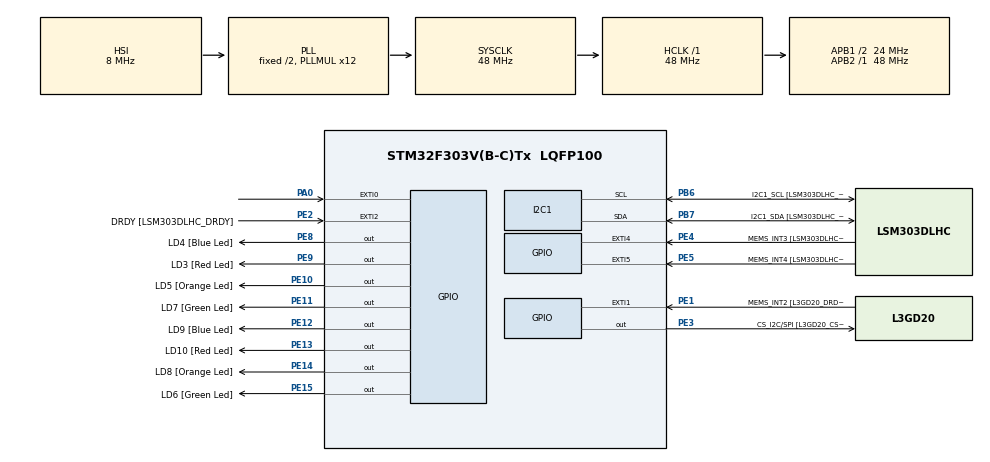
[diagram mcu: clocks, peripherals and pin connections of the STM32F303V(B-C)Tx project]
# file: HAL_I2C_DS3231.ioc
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Mcu.Family=STM32F3
Mcu.Name=STM32F303V(B-C)Tx
Mcu.Package=LQFP100
NVIC.EXTI0_IRQn=true\:0\:0\:false\:false\:true\:true\:true\:true
NVIC.PriorityGroup=NVIC_PRIORITYGROUP_0
PA0.Signal=GPXTI0
PA11.GPIO_Label=DM
PA11.Signal=USB_DM
PA12.GPIO_Label=DP
PA12.Signal=USB_DP
PA13.GPIO_Label=SWDIO
PA13.Signal=SYS_JTMS-SWDIO
PA14.GPIO_Label=SWCLK
PA14.Signal=SYS_JTCK-SWCLK
PA5.GPIO_Label=SPI1_SCK [L3GD20_SCL/SPC]
PA5.GPIO_Mode=GPIO_MODE_AF_PP
PA5.GPIO_PuPd=GPIO_NOPULL
PA5.GPIO_Speed=GPIO_SPEED_FREQ_LOW
PA5.Signal=SPI1_SCK
PA6.GPIO_Label=SPI1_MISO [L3GD20_SA0/SDO]
PA6.GPIO_Mode=GPIO_MODE_AF_PP
PA6.GPIO_PuPd=GPIO_NOPULL
PA6.GPIO_Speed=GPIO_SPEED_FREQ_LOW
PA6.Signal=SPI1_MISO
PA7.GPIO_Label=SPI1_MISO [L3GD20_SDA/SDI/SDO]
PA7.GPIO_Mode=GPIO_MODE_AF_PP
PA7.GPIO_PuPd=GPIO_NOPULL
PA7.GPIO_Speed=GPIO_SPEED_FREQ_LOW
PA7.Signal=SPI1_MOSI
PB3.GPIO_Label=SWO
PB3.Signal=SYS_JTDO-TRACESWO
PB6.GPIO_FM6=__NULL
PB6.GPIO_Label=I2C1_SCL [LSM303DLHC_SCL]
PB6.GPIO_Mode=GPIO_MODE_AF_OD
PB6.GPIO_Pu=GPIO_NOPULL
PB6.GPIO_PuPd=GPIO_NOPULL
PB6.GPIO_Speed=GPIO_SPEED_FREQ_LOW
PB6.Mode=I2C
PB6.Signal=I2C1_SCL
PB7.GPIO_FM7=__NULL
PB7.GPIO_Label=I2C1_SDA [LSM303DLHC_SDA]
PB7.GPIO_Mode=GPIO_MODE_AF_OD
PB7.GPIO_Pu=GPIO_NOPULL
PB7.GPIO_PuPd=GPIO_NOPULL
PB7.GPIO_Speed=GPIO_SPEED_FREQ_LOW
PB7.Mode=I2C
PB7.Signal=I2C1_SDA
PC14-OSC32_IN.GPIO_Label=OSC32_IN
PC14-OSC32_IN.Signal=RCC_OSC32_IN
PC15-OSC32_OUT.GPIO_Label=OSC32_OUT
PC15-OSC32_OUT.Signal=RCC_OSC32_OUT
PE1.GPIO_Label=MEMS_INT2 [L3GD20_DRDY/INT2]
PE1.GPIO_ModeDefaultEXTI=GPIO_MODE_EVT_RISING
PE1.GPIO_PuPd=GPIO_NOPULL
PE1.Signal=GPXTI1
PE10.GPIO_Label=LD5 [Orange Led]
PE10.GPIO_ModeDefaultOutputPP=GPIO_MODE_OUTPUT_PP
PE10.GPIO_PuPd=GPIO_NOPULL
PE10.GPIO_Speed=GPIO_SPEED_FREQ_LOW
PE10.Signal=GPIO_Output
PE11.GPIO_Label=LD7 [Green Led]
PE11.GPIO_ModeDefaultOutputPP=GPIO_MODE_OUTPUT_PP
PE11.GPIO_PuPd=GPIO_NOPULL
PE11.GPIO_Speed=GPIO_SPEED_FREQ_LOW
PE11.Signal=GPIO_Output
PE12.GPIO_Label=LD9 [Blue Led]
PE12.GPIO_ModeDefaultOutputPP=GPIO_MODE_OUTPUT_PP
PE12.GPIO_PuPd=GPIO_NOPULL
PE12.GPIO_Speed=GPIO_SPEED_FREQ_LOW
PE12.Signal=GPIO_Output
PE13.GPIO_Label=LD10 [Red Led]
PE13.GPIO_ModeDefaultOutputPP=GPIO_MODE_OUTPUT_PP
PE13.GPIO_PuPd=GPIO_NOPULL
PE13.GPIO_Speed=GPIO_SPEED_FREQ_LOW
PE13.Signal=GPIO_Output
PE14.GPIO_Label=LD8 [Orange Led]
PE14.GPIO_ModeDefaultOutputPP=GPIO_MODE_OUTPUT_PP
PE14.GPIO_PuPd=GPIO_NOPULL
PE14.GPIO_Speed=GPIO_SPEED_FREQ_LOW
PE14.Signal=GPIO_Output
PE15.GPIO_Label=LD6 [Green Led]
PE15.GPIO_ModeDefaultOutputPP=GPIO_MODE_OUTPUT_PP
PE15.GPIO_PuPd=GPIO_NOPULL
PE15.GPIO_Speed=GPIO_SPEED_FREQ_LOW
PE15.Signal=GPIO_Output
PE2.GPIO_Label=DRDY [LSM303DLHC_DRDY]
PE2.GPIO_ModeDefaultEXTI=GPIO_MODE_EVT_RISING
PE2.GPIO_PuPd=GPIO_NOPULL
PE2.Signal=GPXTI2
PE3.GPIO_Label=CS_I2C/SPI [L3GD20_CS_I2C/SPI]
PE3.GPIO_ModeDefaultOutputPP=GPIO_MODE_OUTPUT_PP
PE3.GPIO_PuPd=GPIO_NOPULL
PE3.GPIO_Speed=GPIO_SPEED_FREQ_LOW
PE3.Signal=GPIO_Output
PE4.GPIO_Label=MEMS_INT3 [LSM303DLHC_INT1]
PE4.GPIO_ModeDefaultEXTI=GPIO_MODE_EVT_RISING
PE4.GPIO_PuPd=GPIO_NOPULL
PE4.Signal=GPXTI4
PE5.GPIO_Label=MEMS_INT4 [LSM303DLHC_INT2]
PE5.GPIO_ModeDefaultEXTI=GPIO_MODE_EVT_RISING
PE5.GPIO_PuPd=GPIO_NOPULL
PE5.Signal=GPXTI5
PE8.GPIO_Label=LD4 [Blue Led]
PE8.GPIO_ModeDefaultOutputPP=GPIO_MODE_OUTPUT_PP
PE8.GPIO_PuPd=GPIO_NOPULL
PE8.GPIO_Speed=GPIO_SPEED_FREQ_LOW
PE8.Signal=GPIO_Output
PE9.GPIO_Label=LD3 [Red Led]
PE9.GPIO_ModeDefaultOutputPP=GPIO_MODE_OUTPUT_PP
PE9.GPIO_PuPd=GPIO_NOPULL
PE9.GPIO_Speed=GPIO_SPEED_FREQ_LOW
PE9.Signal=GPIO_Output
PF0-OSC_IN.GPIO_Label=OSC_IN
PF0-OSC_IN.Signal=RCC_OSC_IN
PF1-OSC_OUT.GPIO_Label=OSC_OUT
PF1-OSC_OUT.Signal=RCC_OSC_OUT
ProjectManager.HeapSize=0x200
ProjectManager.StackSize=0x400
ProjectManager.TargetToolchain=STM32CubeIDE
RCC.AHBFreq_Value=48000000
RCC.APB1CLKDivider=RCC_HCLK_DIV2
RCC.APB1Freq_Value=24000000
RCC.APB1TimFreq_Value=48000000
RCC.APB2Freq_Value=48000000
RCC.APB2TimFreq_Value=48000000
RCC.CortexFreq_Value=48000000
RCC.HCLKFreq_Value=48000000
RCC.HSE_VALUE=8000000
RCC.HSI_VALUE=8000000
RCC.LSE_VALUE=32768
RCC.PLLMUL=RCC_PLL_MUL12
RCC.SYSCLKFreq_VALUE=48000000
RCC.SYSCLKSourceVirtual=RCC_SYSCLKSOURCE_PLLCLK
RCC.USBFreq_Value=48000000
board=STM32F3DISCOVERY

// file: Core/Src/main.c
/* USER CODE BEGIN Header */
/**
  ******************************************************************************
  * @file           : main.c
  * @brief          : Main program body
  ******************************************************************************
  * @attention
  *
  * Copyright (c) 2023 STMicroelectronics.
  * All rights reserved.
  *
  * This software is licensed under terms that can be found in the LICENSE file
  * in the root directory of this software component.
  * If no LICENSE file comes with this software, it is provided AS-IS.
  *
  ******************************************************************************
  */
/* USER CODE END Header */
#include "main.h"

/* USER CODE BEGIN Includes */
#include <stdio.h>
#include <DS3231.h>
/* USER CODE END Includes */

I2C_HandleTypeDef hi2c1;

void SystemClock_Config(void);
static void MX_GPIO_Init(void);
static void MX_I2C1_Init(void);
/* USER CODE BEGIN PFP */
//int I2C_init(I2C_HandleTypeDef* I2C);
/* USER CODE END PFP */

int main(void)
{

  /* MCU Configuration--------------------------------------------------------*/

  /* Reset of all peripherals, Initializes the Flash interface and the Systick. */
  HAL_Init();

  /* USER CODE BEGIN Init */

  //I2C_init(&hi2c1);
  /* USER CODE END Init */

  /* Configure the system clock */
  SystemClock_Config();

  /* Initialize all configured peripherals */
  MX_GPIO_Init();
  MX_I2C1_Init();
  /* USER CODE BEGIN 2 */

  /*
   * Fill the alarm DS3231_Alarm_t structure
   */
  DS3231_Alarm_t alarm_trigger;

  alarm_trigger.sec = 12;
  alarm_trigger.min = 1;
  alarm_trigger.trigger = ALARM_1_min_sec_match;

  /*
   * Call DS3231_set_alarm function with the given alarm structure
   */
  DS3231_set_alarm(&hi2c1, ALARM_1, alarm_trigger);

  /*
   * Fill the DS3231_Time_t stucture with time information
   */
  DS3231_Time_t timer_time = {13,36,35,0,0,0,0};

  printf("Program is working...\n");

  /* USER CODE END 2 */

  /* Infinite loop */
  /* USER CODE BEGIN WHILE */

  uint8_t alarm_status = 0;

  while (1)
  {
    /* USER CODE END WHILE */

    /* USER CODE BEGIN 3 */
	  DS3231_set_time(&hi2c1, timer_time);
	  timer_time = DS3231_get_time(&hi2c1);
	  alarm_status = DS3231_get_alarm(&hi2c1, ALARM_1);

	  if(alarm_status)
	  {
		  DS3231_clear_alarm(&hi2c1, ALARM_1);
		  printf("ALARM CLEARED\n\r");
	 }
	  alarm_status = DS3231_get_alarm(&hi2c1, ALARM_1);
	  HAL_Delay(1000);

	  if(CONNECTION_LOST){
		  printf("PROBLEM WITH I2C BUS CHECK THE CONNECTION...\n\n");
		  continue;
	  }

	  printf("%02d:%02d:%02d DAY: %d, DATE: %d, MONTH: %d, YEAR_100: %d\n ALARM STATUS: %d\n\n",\
			  timer_time.time_hr, timer_time.time_min, timer_time.time_sec,timer_time.day,\
			  timer_time.date, timer_time.month, timer_time.year_100, alarm_status);
  }

  /* USER CODE END 3 */
}

void SystemClock_Config(void)
{
  RCC_OscInitTypeDef RCC_OscInitStruct = {0};
  RCC_ClkInitTypeDef RCC_ClkInitStruct = {0};
  RCC_PeriphCLKInitTypeDef PeriphClkInit = {0};

  /** Initializes the RCC Oscillators according to the specified parameters
  * in the RCC_OscInitTypeDef structure.
  */
  RCC_OscInitStruct.OscillatorType = RCC_OSCILLATORTYPE_HSI;
  RCC_OscInitStruct.HSIState = RCC_HSI_ON;
  RCC_OscInitStruct.HSICalibrationValue = RCC_HSICALIBRATION_DEFAULT;
  RCC_OscInitStruct.PLL.PLLState = RCC_PLL_ON;
  RCC_OscInitStruct.PLL.PLLSource = RCC_PLLSOURCE_HSI;
  RCC_OscInitStruct.PLL.PLLMUL = RCC_PLL_MUL12;
  if (HAL_RCC_OscConfig(&RCC_OscInitStruct) != HAL_OK)
  {
    Error_Handler();
  }

  /** Initializes the CPU, AHB and APB buses clocks
  */
  RCC_ClkInitStruct.ClockType = RCC_CLOCKTYPE_HCLK|RCC_CLOCKTYPE_SYSCLK
                              |RCC_CLOCKTYPE_PCLK1|RCC_CLOCKTYPE_PCLK2;
  RCC_ClkInitStruct.SYSCLKSource = RCC_SYSCLKSOURCE_PLLCLK;
  RCC_ClkInitStruct.AHBCLKDivider = RCC_SYSCLK_DIV1;
  RCC_ClkInitStruct.APB1CLKDivider = RCC_HCLK_DIV2;
  RCC_ClkInitStruct.APB2CLKDivider = RCC_HCLK_DIV1;

  if (HAL_RCC_ClockConfig(&RCC_ClkInitStruct, FLASH_LATENCY_1) != HAL_OK)
  {
    Error_Handler();
  }
  PeriphClkInit.PeriphClockSelection = RCC_PERIPHCLK_I2C1;
  PeriphClkInit.I2c1ClockSelection = RCC_I2C1CLKSOURCE_HSI;
  if (HAL_RCCEx_PeriphCLKConfig(&PeriphClkInit) != HAL_OK)
  {
    Error_Handler();
  }
}

static void MX_I2C1_Init(void)
{

  hi2c1.Instance = I2C1;
  hi2c1.Init.Timing = 0x2000090E;
  hi2c1.Init.OwnAddress1 = 0;
  hi2c1.Init.AddressingMode = I2C_ADDRESSINGMODE_7BIT;
  hi2c1.Init.DualAddressMode = I2C_DUALADDRESS_DISABLE;
  hi2c1.Init.OwnAddress2 = 0;
  hi2c1.Init.OwnAddress2Masks = I2C_OA2_NOMASK;
  hi2c1.Init.GeneralCallMode = I2C_GENERALCALL_DISABLE;
  hi2c1.Init.NoStretchMode = I2C_NOSTRETCH_DISABLE;
  if (HAL_I2C_Init(&hi2c1) != HAL_OK)
  {
    Error_Handler();
  }

  /** Configure Analogue filter
  */
  if (HAL_I2CEx_ConfigAnalogFilter(&hi2c1, I2C_ANALOGFILTER_ENABLE) != HAL_OK)
  {
    Error_Handler();
  }

  /** Configure Digital filter
  */
  if (HAL_I2CEx_ConfigDigitalFilter(&hi2c1, 0) != HAL_OK)
  {
    Error_Handler();
  }

}

static void MX_GPIO_Init(void)
{
  GPIO_InitTypeDef GPIO_InitStruct = {0};

  /* GPIO Ports Clock Enable */
  __HAL_RCC_GPIOE_CLK_ENABLE();
  __HAL_RCC_GPIOC_CLK_ENABLE();
  __HAL_RCC_GPIOF_CLK_ENABLE();
  __HAL_RCC_GPIOA_CLK_ENABLE();
  __HAL_RCC_GPIOB_CLK_ENABLE();

  /*Configure GPIO pin Output Level */
  HAL_GPIO_WritePin(GPIOE, CS_I2C_SPI_Pin|LD4_Pin|LD3_Pin|LD5_Pin
                          |LD7_Pin|LD9_Pin|LD10_Pin|LD8_Pin
                          |LD6_Pin, GPIO_PIN_RESET);

  /*Configure GPIO pins : DRDY_Pin MEMS_INT3_Pin MEMS_INT4_Pin MEMS_INT2_Pin */
  GPIO_InitStruct.Pin = DRDY_Pin|MEMS_INT3_Pin|MEMS_INT4_Pin|MEMS_INT2_Pin;
  GPIO_InitStruct.Mode = GPIO_MODE_EVT_RISING;
  GPIO_InitStruct.Pull = GPIO_NOPULL;
  HAL_GPIO_Init(GPIOE, &GPIO_InitStruct);

  /*Configure GPIO pins : CS_I2C_SPI_Pin LD4_Pin LD3_Pin LD5_Pin
                           LD7_Pin LD9_Pin LD10_Pin LD8_Pin
                           LD6_Pin */
  GPIO_InitStruct.Pin = CS_I2C_SPI_Pin|LD4_Pin|LD3_Pin|LD5_Pin
                          |LD7_Pin|LD9_Pin|LD10_Pin|LD8_Pin
                          |LD6_Pin;
  GPIO_InitStruct.Mode = GPIO_MODE_OUTPUT_PP;
  GPIO_InitStruct.Pull = GPIO_NOPULL;
  GPIO_InitStruct.Speed = GPIO_SPEED_FREQ_LOW;
  HAL_GPIO_Init(GPIOE, &GPIO_InitStruct);

  /*Configure GPIO pin : PA0 */
  GPIO_InitStruct.Pin = GPIO_PIN_0;
  GPIO_InitStruct.Mode = GPIO_MODE_IT_RISING;
  GPIO_InitStruct.Pull = GPIO_NOPULL;
  HAL_GPIO_Init(GPIOA, &GPIO_InitStruct);

  /*Configure GPIO pins : SPI1_SCK_Pin SPI1_MISO_Pin SPI1_MISOA7_Pin */
  GPIO_InitStruct.Pin = SPI1_SCK_Pin|SPI1_MISO_Pin|SPI1_MISOA7_Pin;
  GPIO_InitStruct.Mode = GPIO_MODE_AF_PP;
  GPIO_InitStruct.Pull = GPIO_NOPULL;
  GPIO_InitStruct.Speed = GPIO_SPEED_FREQ_LOW;
  GPIO_InitStruct.Alternate = GPIO_AF5_SPI1;
  HAL_GPIO_Init(GPIOA, &GPIO_InitStruct);

  /*Configure GPIO pins : DM_Pin DP_Pin */
  GPIO_InitStruct.Pin = DM_Pin|DP_Pin;
  GPIO_InitStruct.Mode = GPIO_MODE_AF_PP;
  GPIO_InitStruct.Pull = GPIO_NOPULL;
  GPIO_InitStruct.Speed = GPIO_SPEED_FREQ_HIGH;
  GPIO_InitStruct.Alternate = GPIO_AF14_USB;
  HAL_GPIO_Init(GPIOA, &GPIO_InitStruct);

  /* EXTI interrupt init*/
  HAL_NVIC_SetPriority(EXTI0_IRQn, 0, 0);
  HAL_NVIC_EnableIRQ(EXTI0_IRQn);

}

/* USER CODE BEGIN 4 */
int I2C_init(I2C_HandleTypeDef* I2C){
//	I2C->
	return 0;
}

void HAL_GPIO_EXTI_Callback(uint16_t GPIO_Pin)
{
	if(GPIO_Pin == GPIO_PIN_0)
	{
		  DS3231_Time_t timer_time = {0,0,0,0,0,0,0};
		  timer_time.time_hr = 14;
		  timer_time.time_min = 47;
		  timer_time.time_sec = 50;
		  timer_time.day = 7;
		  timer_time.month = 12;
		  timer_time.date = 31;
		  timer_time.year_100 = 24;

		  DS3231_set_time(&hi2c1, timer_time);
	}
}

/* USER CODE END 4 */

void Error_Handler(void)
{
  __disable_irq();
  while (1)
  {
  }
}
